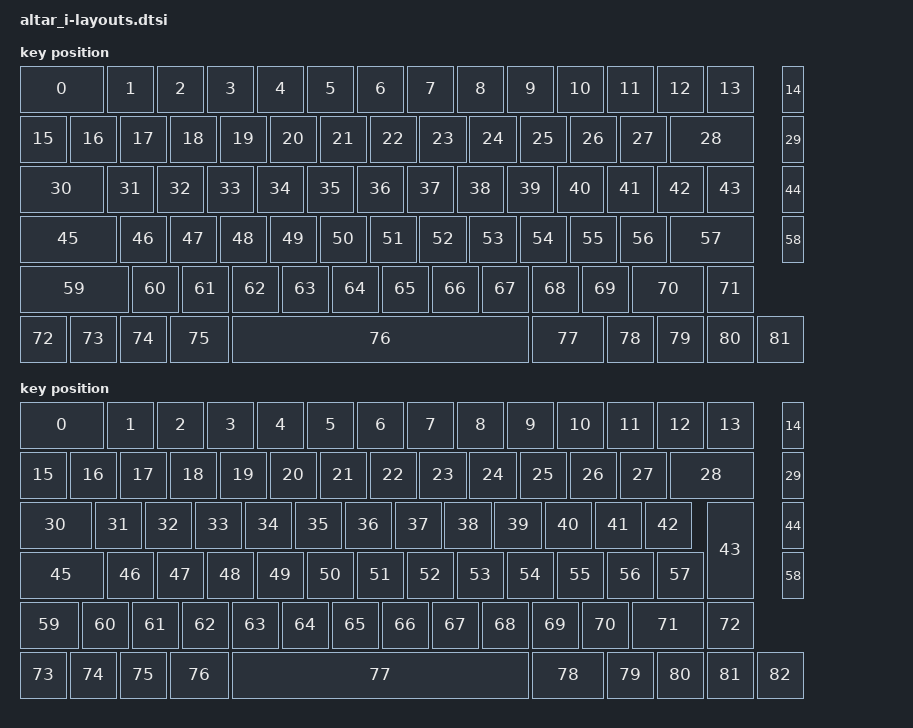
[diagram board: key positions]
/*
 * Copyright (c) 2025 Electronic Materials Office Ltd.
 * SPDX-License-Identifier: MIT
 */

#include <physical_layouts.dtsi>

/ {
    layout_us: layout_us {
        compatible = "zmk,physical-layout";
        display-name = "US Layout";
        transform = <&transform_us>;
        keys  //                     w   h    x    y     rot    rx    ry
            = <&key_physical_attrs 175 100    0    0       0     0     0>
            , <&key_physical_attrs 100 100  175    0       0     0     0>
            , <&key_physical_attrs 100 100  275    0       0     0     0>
            , <&key_physical_attrs 100 100  375    0       0     0     0>
            , <&key_physical_attrs 100 100  475    0       0     0     0>
            , <&key_physical_attrs 100 100  575    0       0     0     0>
            , <&key_physical_attrs 100 100  675    0       0     0     0>
            , <&key_physical_attrs 100 100  775    0       0     0     0>
            , <&key_physical_attrs 100 100  875    0       0     0     0>
            , <&key_physical_attrs 100 100  975    0       0     0     0>
            , <&key_physical_attrs 100 100 1075    0       0     0     0>
            , <&key_physical_attrs 100 100 1175    0       0     0     0>
            , <&key_physical_attrs 100 100 1275    0       0     0     0>
            , <&key_physical_attrs 100 100 1375    0       0     0     0>
            , <&key_physical_attrs  50 100 1525    0       0     0     0>

            , <&key_physical_attrs 100 100    0  100       0     0     0>
            , <&key_physical_attrs 100 100  100  100       0     0     0>
            , <&key_physical_attrs 100 100  200  100       0     0     0>
            , <&key_physical_attrs 100 100  300  100       0     0     0>
            , <&key_physical_attrs 100 100  400  100       0     0     0>
            , <&key_physical_attrs 100 100  500  100       0     0     0>
            , <&key_physical_attrs 100 100  600  100       0     0     0>
            , <&key_physical_attrs 100 100  700  100       0     0     0>
            , <&key_physical_attrs 100 100  800  100       0     0     0>
            , <&key_physical_attrs 100 100  900  100       0     0     0>
            , <&key_physical_attrs 100 100 1000  100       0     0     0>
            , <&key_physical_attrs 100 100 1100  100       0     0     0>
            , <&key_physical_attrs 100 100 1200  100       0     0     0>
            , <&key_physical_attrs 175 100 1300  100       0     0     0>
            , <&key_physical_attrs  50 100 1525  100       0     0     0>

            , <&key_physical_attrs 175 100    0  200       0     0     0>
            , <&key_physical_attrs 100 100  175  200       0     0     0>
            , <&key_physical_attrs 100 100  275  200       0     0     0>
            , <&key_physical_attrs 100 100  375  200       0     0     0>
            , <&key_physical_attrs 100 100  475  200       0     0     0>
            , <&key_physical_attrs 100 100  575  200       0     0     0>
            , <&key_physical_attrs 100 100  675  200       0     0     0>
            , <&key_physical_attrs 100 100  775  200       0     0     0>
            , <&key_physical_attrs 100 100  875  200       0     0     0>
            , <&key_physical_attrs 100 100  975  200       0     0     0>
            , <&key_physical_attrs 100 100 1075  200       0     0     0>
            , <&key_physical_attrs 100 100 1175  200       0     0     0>
            , <&key_physical_attrs 100 100 1275  200       0     0     0>
            , <&key_physical_attrs 100 100 1375  200       0     0     0>
            , <&key_physical_attrs  50 100 1525  200       0     0     0>

            , <&key_physical_attrs 200 100    0  300       0     0     0>
            , <&key_physical_attrs 100 100  200  300       0     0     0>
            , <&key_physical_attrs 100 100  300  300       0     0     0>
            , <&key_physical_attrs 100 100  400  300       0     0     0>
            , <&key_physical_attrs 100 100  500  300       0     0     0>
            , <&key_physical_attrs 100 100  600  300       0     0     0>
            , <&key_physical_attrs 100 100  700  300       0     0     0>
            , <&key_physical_attrs 100 100  800  300       0     0     0>
            , <&key_physical_attrs 100 100  900  300       0     0     0>
            , <&key_physical_attrs 100 100 1000  300       0     0     0>
            , <&key_physical_attrs 100 100 1100  300       0     0     0>
            , <&key_physical_attrs 100 100 1200  300       0     0     0>
            , <&key_physical_attrs 175 100 1300  300       0     0     0>
            , <&key_physical_attrs  50 100 1525  300       0     0     0>

            , <&key_physical_attrs 225 100    0  400       0     0     0>
            , <&key_physical_attrs 100 100  225  400       0     0     0>
            , <&key_physical_attrs 100 100  325  400       0     0     0>
            , <&key_physical_attrs 100 100  425  400       0     0     0>
            , <&key_physical_attrs 100 100  525  400       0     0     0>
            , <&key_physical_attrs 100 100  625  400       0     0     0>
            , <&key_physical_attrs 100 100  725  400       0     0     0>
            , <&key_physical_attrs 100 100  825  400       0     0     0>
            , <&key_physical_attrs 100 100  925  400       0     0     0>
            , <&key_physical_attrs 100 100 1025  400       0     0     0>
            , <&key_physical_attrs 100 100 1125  400       0     0     0>
            , <&key_physical_attrs 150 100 1225  400       0     0     0>
            , <&key_physical_attrs 100 100 1375  400       0     0     0>

            , <&key_physical_attrs 100 100    0  500       0     0     0>
            , <&key_physical_attrs 100 100  100  500       0     0     0>
            , <&key_physical_attrs 100 100  200  500       0     0     0>
            , <&key_physical_attrs 125 100  300  500       0     0     0>
            , <&key_physical_attrs 600 100  425  500       0     0     0>
            , <&key_physical_attrs 150 100 1025  500       0     0     0>
            , <&key_physical_attrs 100 100 1175  500       0     0     0>
            , <&key_physical_attrs 100 100 1275  500       0     0     0>
            , <&key_physical_attrs 100 100 1375  500       0     0     0>
            , <&key_physical_attrs 100 100 1475  500       0     0     0>
        ;
    };

    layout_uk: layout_uk {
        compatible = "zmk,physical-layout";
        display-name = "UK Layout";
        transform = <&transform_uk>;
        keys  //                     w   h    x    y     rot    rx    ry
            = <&key_physical_attrs 175 100    0    0       0     0     0>
            , <&key_physical_attrs 100 100  175    0       0     0     0>
            , <&key_physical_attrs 100 100  275    0       0     0     0>
            , <&key_physical_attrs 100 100  375    0       0     0     0>
            , <&key_physical_attrs 100 100  475    0       0     0     0>
            , <&key_physical_attrs 100 100  575    0       0     0     0>
            , <&key_physical_attrs 100 100  675    0       0     0     0>
            , <&key_physical_attrs 100 100  775    0       0     0     0>
            , <&key_physical_attrs 100 100  875    0       0     0     0>
            , <&key_physical_attrs 100 100  975    0       0     0     0>
            , <&key_physical_attrs 100 100 1075    0       0     0     0>
            , <&key_physical_attrs 100 100 1175    0       0     0     0>
            , <&key_physical_attrs 100 100 1275    0       0     0     0>
            , <&key_physical_attrs 100 100 1375    0       0     0     0>
            , <&key_physical_attrs  50 100 1525    0       0     0     0>

            , <&key_physical_attrs 100 100    0  100       0     0     0>
            , <&key_physical_attrs 100 100  100  100       0     0     0>
            , <&key_physical_attrs 100 100  200  100       0     0     0>
            , <&key_physical_attrs 100 100  300  100       0     0     0>
            , <&key_physical_attrs 100 100  400  100       0     0     0>
            , <&key_physical_attrs 100 100  500  100       0     0     0>
            , <&key_physical_attrs 100 100  600  100       0     0     0>
            , <&key_physical_attrs 100 100  700  100       0     0     0>
            , <&key_physical_attrs 100 100  800  100       0     0     0>
            , <&key_physical_attrs 100 100  900  100       0     0     0>
            , <&key_physical_attrs 100 100 1000  100       0     0     0>
            , <&key_physical_attrs 100 100 1100  100       0     0     0>
            , <&key_physical_attrs 100 100 1200  100       0     0     0>
            , <&key_physical_attrs 175 100 1300  100       0     0     0>
            , <&key_physical_attrs  50 100 1525  100       0     0     0>

            , <&key_physical_attrs 150 100    0  200       0     0     0>
            , <&key_physical_attrs 100 100  150  200       0     0     0>
            , <&key_physical_attrs 100 100  250  200       0     0     0>
            , <&key_physical_attrs 100 100  350  200       0     0     0>
            , <&key_physical_attrs 100 100  450  200       0     0     0>
            , <&key_physical_attrs 100 100  550  200       0     0     0>
            , <&key_physical_attrs 100 100  650  200       0     0     0>
            , <&key_physical_attrs 100 100  750  200       0     0     0>
            , <&key_physical_attrs 100 100  850  200       0     0     0>
            , <&key_physical_attrs 100 100  950  200       0     0     0>
            , <&key_physical_attrs 100 100 1050  200       0     0     0>
            , <&key_physical_attrs 100 100 1150  200       0     0     0>
            , <&key_physical_attrs 100 100 1250  200       0     0     0>
            , <&key_physical_attrs 100 200 1375  200       0     0     0>
            , <&key_physical_attrs  50 100 1525  200       0     0     0>

            , <&key_physical_attrs 175 100    0  300       0     0     0>
            , <&key_physical_attrs 100 100  175  300       0     0     0>
            , <&key_physical_attrs 100 100  275  300       0     0     0>
            , <&key_physical_attrs 100 100  375  300       0     0     0>
            , <&key_physical_attrs 100 100  475  300       0     0     0>
            , <&key_physical_attrs 100 100  575  300       0     0     0>
            , <&key_physical_attrs 100 100  675  300       0     0     0>
            , <&key_physical_attrs 100 100  775  300       0     0     0>
            , <&key_physical_attrs 100 100  875  300       0     0     0>
            , <&key_physical_attrs 100 100  975  300       0     0     0>
            , <&key_physical_attrs 100 100 1075  300       0     0     0>
            , <&key_physical_attrs 100 100 1175  300       0     0     0>
            , <&key_physical_attrs 100 100 1275  300       0     0     0>
            , <&key_physical_attrs  50 100 1525  300       0     0     0>

            , <&key_physical_attrs 125 100    0  400       0     0     0>
            , <&key_physical_attrs 100 100  125  400       0     0     0>
            , <&key_physical_attrs 100 100  225  400       0     0     0>
            , <&key_physical_attrs 100 100  325  400       0     0     0>
            , <&key_physical_attrs 100 100  425  400       0     0     0>
            , <&key_physical_attrs 100 100  525  400       0     0     0>
            , <&key_physical_attrs 100 100  625  400       0     0     0>
            , <&key_physical_attrs 100 100  725  400       0     0     0>
            , <&key_physical_attrs 100 100  825  400       0     0     0>
            , <&key_physical_attrs 100 100  925  400       0     0     0>
            , <&key_physical_attrs 100 100 1025  400       0     0     0>
            , <&key_physical_attrs 100 100 1125  400       0     0     0>
            , <&key_physical_attrs 150 100 1225  400       0     0     0>
            , <&key_physical_attrs 100 100 1375  400       0     0     0>

            , <&key_physical_attrs 100 100    0  500       0     0     0>
            , <&key_physical_attrs 100 100  100  500       0     0     0>
            , <&key_physical_attrs 100 100  200  500       0     0     0>
            , <&key_physical_attrs 125 100  300  500       0     0     0>
            , <&key_physical_attrs 600 100  425  500       0     0     0>
            , <&key_physical_attrs 150 100 1025  500       0     0     0>
            , <&key_physical_attrs 100 100 1175  500       0     0     0>
            , <&key_physical_attrs 100 100 1275  500       0     0     0>
            , <&key_physical_attrs 100 100 1375  500       0     0     0>
            , <&key_physical_attrs 100 100 1475  500       0     0     0>
        ;
    };
};

/ {
    position_map {
        compatible = "zmk,physical-layout-position-map";

        layout_us {
            physical-layout = <&layout_us>;
            positions = <57 59 60 61 62 63 64 65 66 67 68 69 70 71>;
        };

        layout_uk {
            physical-layout = <&layout_uk>;
            positions = <43 59 61 62 63 64 65 66 67 68 69 70 71 72>;
        };
    };
};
